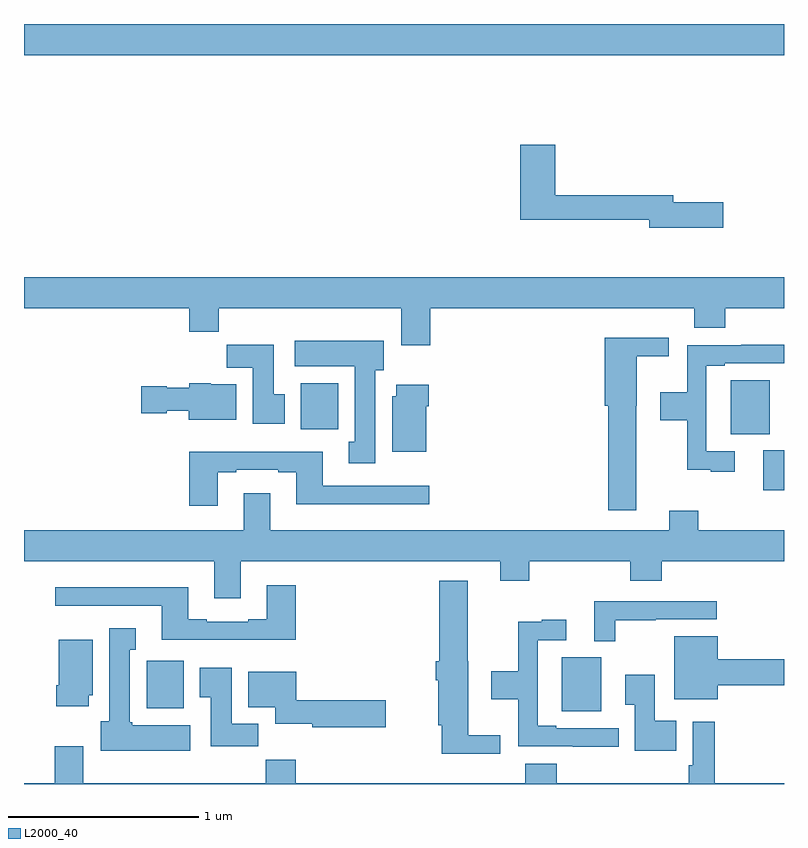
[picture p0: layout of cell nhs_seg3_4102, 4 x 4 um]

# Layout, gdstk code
import gdstk
lib = gdstk.Library(unit=1e-6, precision=1e-09)
def R(c, l, rs):  # rectangles x0, y0, x1, y1
    for r in rs: c.add(gdstk.rectangle(r[:2], r[2:], *l))
def P(c, l, *ps):  # polygons
    for p in ps: c.add(gdstk.Polygon(p, *l))
L2000_40 = (2000, 40)

nhs_seg3_4102 = lib.new_cell('nhs_seg3_4102')
R(nhs_seg3_4102, L2000_40, [(329.831,710.783,330.037,711.067), (327.645,710.798,327.841,711.048), (330.89,711.945,331,712.156), (330.719,712.241,330.925,712.525), (328.457,712.268,328.654,712.51), (327,714.236,331,714.4)])
P(nhs_seg3_4102, L2000_40, [(330.679,713.462),(330.418,713.462),(330.418,713.498),(329.795,713.498),(329.795,713.764),(329.612,713.764),(329.612,713.37),(330.29,713.37),(330.29,713.327),(330.679,713.327)],
  [(329.138,712.904),(330.527,712.904),(330.527,712.802),(330.692,712.802),(330.692,712.904),(331,712.904),(331,713.068),(327,713.068),(327,712.904),(327.869,712.904),(327.869,712.78),(328.025,712.78),(328.025,712.904),(328.985,712.904),(328.985,712.71),(329.138,712.71)],
  [(330.223,712.392),(330.226,712.392),(330.226,712.652),(330.394,712.652),(330.394,712.75),(330.056,712.75),(330.056,712.392),(330.074,712.392),(330.074,711.84),(330.223,711.84)],
  [(328.849,712.578),(328.894,712.578),(328.894,712.732),(328.425,712.732),(328.425,712.598),(328.742,712.598),(328.742,712.202),(328.709,712.202),(328.709,712.089),(328.849,712.089)],
  [(330.742,712.152),(330.591,712.152),(330.591,712.602),(330.688,712.602),(330.688,712.614),(331,712.614),(331,712.712),(330.775,712.712),(330.775,712.71),(330.49,712.71),(330.49,712.462),(330.348,712.462),(330.348,712.315),(330.49,712.315),(330.49,712.055),(330.614,712.055),(330.614,712.044),(330.742,712.044)],
  [(328.372,712.452),(328.315,712.452),(328.315,712.711),(328.066,712.711),(328.066,712.592),(328.205,712.592),(328.205,712.296),(328.372,712.296)],
  [(328.117,712.504),(327.984,712.504),(327.984,712.51),(327.87,712.51),(327.87,712.486),(327.75,712.486),(327.75,712.494),(327.618,712.494),(327.618,712.352),(327.75,712.352),(327.75,712.364),(327.866,712.364),(327.866,712.316),(328.117,712.316)],
  [(329.116,712.388),(329.129,712.388),(329.129,712.501),(328.958,712.501),(328.958,712.44),(328.937,712.44),(328.937,712.148),(329.116,712.148)],
  [(328.021,712.041),(328.117,712.041),(328.117,712.053),(328.337,712.053),(328.337,712.041),(328.433,712.041),(328.433,711.872),(329.134,711.872),(329.134,711.969),(328.573,711.969),(328.573,712.15),(327.869,712.15),(327.869,711.864),(328.021,711.864)],
  [(328.141,711.572),(329.507,711.572),(329.507,711.47),(329.66,711.47),(329.66,711.572),(330.191,711.572),(330.191,711.47),(330.356,711.47),(330.356,711.572),(331,711.572),(331,711.736),(330.548,711.736),(330.548,711.838),(330.395,711.838),(330.395,711.736),(328.297,711.736),(328.297,711.931),(328.157,711.931),(328.157,711.736),(327,711.736),(327,711.572),(328.001,711.572),(328.001,711.378),(328.141,711.378)],
  [(329.506,710.657),(329.338,710.657),(329.338,711.045),(329.335,711.045),(329.335,711.469),(329.186,711.469),(329.186,711.045),(329.168,711.045),(329.168,710.945),(329.18,710.945),(329.18,710.709),(329.198,710.709),(329.198,710.558),(329.506,710.558)],
  [(328.43,711.445),(328.277,711.445),(328.277,711.268),(328.181,711.268),(328.181,711.255),(327.961,711.255),(327.961,711.268),(327.865,711.268),(327.865,711.436),(327.165,711.436),(327.165,711.339),(327.725,711.339),(327.725,711.158),(328.43,711.158)],
  [(330.112,711.262),(330.326,711.262),(330.326,711.267),(330.646,711.267),(330.646,711.363),(330.002,711.363),(330.002,711.152),(330.112,711.152)],
  [(330.13,710.694),(329.8,710.694),(329.8,710.707),(329.703,710.707),(329.703,711.156),(329.854,711.156),(329.854,711.265),(329.726,711.265),(329.726,711.254),(329.602,711.254),(329.602,710.994),(329.46,710.994),(329.46,710.846),(329.602,710.846),(329.602,710.598),(329.887,710.598),(329.887,710.597),(330.13,710.597)],
  [(327.874,710.71),(327.57,710.71),(327.57,710.724),(327.556,710.724),(327.556,711.107),(327.589,711.107),(327.589,711.22),(327.449,711.22),(327.449,710.73),(327.404,710.73),(327.404,710.576),(327.874,710.576)],
  [(330.652,710.92),(331,710.92),(331,711.056),(330.652,711.056),(330.652,711.178),(330.422,711.178),(330.422,710.846),(330.652,710.846)],
  [(327.34,710.868),(327.361,710.868),(327.361,711.16),(327.182,711.16),(327.182,710.92),(327.17,710.92),(327.17,710.808),(327.34,710.808)],
  [(328.232,710.716),(328.093,710.716),(328.093,711.013),(327.926,711.013),(327.926,710.857),(327.983,710.857),(327.983,710.598),(328.232,710.598)],
  [(328.903,710.84),(328.432,710.84),(328.432,710.992),(328.181,710.992),(328.181,710.804),(328.322,710.804),(328.322,710.717),(328.518,710.717),(328.518,710.698),(328.903,710.698)],
  [(330.434,710.734),(330.319,710.734),(330.319,710.974),(330.165,710.974),(330.165,710.818),(330.215,710.818),(330.215,710.576),(330.434,710.576)],
  [(331,710.404),(330.635,710.404),(330.635,710.728),(330.519,710.728),(330.519,710.5),(330.499,710.5),(330.499,710.404),(329.804,710.404),(329.804,710.506),(329.639,710.506),(329.639,710.404),(328.43,710.404),(328.43,710.528),(328.273,710.528),(328.273,710.404),(327.313,710.404),(327.313,710.599),(327.161,710.599),(327.161,710.404),(327,710.404),(327,710.4),(331,710.4)])

lib.write_gds('nhs_seg3_4102.gds')
